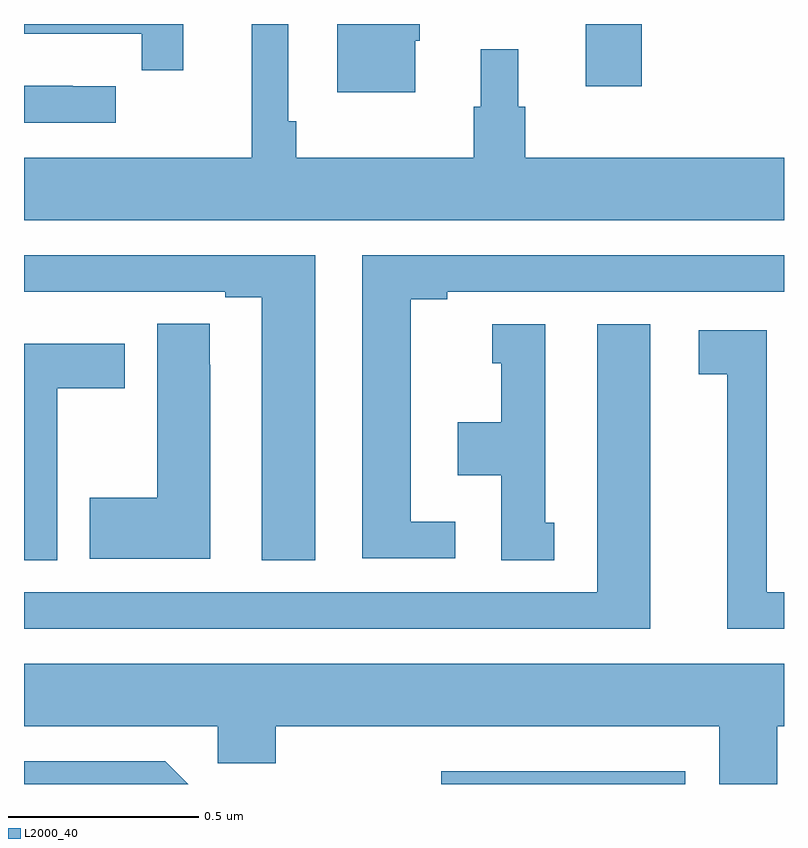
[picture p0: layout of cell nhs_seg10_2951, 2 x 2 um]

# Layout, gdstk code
import gdstk
lib = gdstk.Library(unit=1e-6, precision=1e-09)
def R(c, l, rs):  # rectangles x0, y0, x1, y1
    for r in rs: c.add(gdstk.rectangle(r[:2], r[2:], *l))
def P(c, l, *ps):  # polygons
    for p in ps: c.add(gdstk.Polygon(p, *l))
L2000_40 = (2000, 40)

nhs_seg10_2951 = lib.new_cell('nhs_seg10_2951')
R(nhs_seg10_2951, L2000_40, [(148.098,1297.5,148.74,1297.533), (148.478,1299.336,148.625,1299.5)])
P(nhs_seg10_2951, L2000_40, [(148.03,1299.456),(148.042,1299.456),(148.042,1299.5),(147.824,1299.5),(147.824,1299.32),(148.03,1299.32)],
  [(149,1299.148),(148.319,1299.148),(148.319,1299.282),(148.3,1299.282),(148.3,1299.433),(148.202,1299.433),(148.202,1299.282),(148.183,1299.282),(148.183,1299.148),(147.716,1299.148),(147.716,1299.244),(147.696,1299.244),(147.696,1299.5),(147.599,1299.5),(147.599,1299.148),(147,1299.148),(147,1298.984),(149,1298.984)],
  [(147.419,1299.5),(147,1299.5),(147,1299.474),(147.31,1299.474),(147.31,1299.378),(147.419,1299.378)],
  [(147.241,1299.336),(147.128,1299.336),(147.128,1299.337),(147,1299.337),(147,1299.24),(147.241,1299.24)],
  [(148.135,1298.19),(148.018,1298.19),(148.018,1298.776),(148.114,1298.776),(148.114,1298.796),(149,1298.796),(149,1298.892),(147.89,1298.892),(147.89,1298.094),(148.135,1298.094)],
  [(147.766,1298.892),(147,1298.892),(147,1298.796),(147.088,1298.796),(147.088,1298.795),(147.254,1298.795),(147.254,1298.796),(147.53,1298.796),(147.53,1298.781),(147.626,1298.781),(147.626,1298.089),(147.766,1298.089)],
  [(147.49,1298.603),(147.489,1298.603),(147.489,1298.711),(147.35,1298.711),(147.35,1298.253),(147.173,1298.253),(147.173,1298.093),(147.49,1298.093)],
  [(148.648,1298.71),(148.508,1298.71),(148.508,1298.004),(147,1298.004),(147,1297.908),(148.648,1297.908)],
  [(148.396,1298.187),(148.372,1298.187),(148.372,1298.71),(148.232,1298.71),(148.232,1298.607),(148.256,1298.607),(148.256,1298.452),(148.142,1298.452),(148.142,1298.312),(148.256,1298.312),(148.256,1298.089),(148.396,1298.089)],
  [(149,1298.004),(148.954,1298.004),(148.954,1298.694),(148.776,1298.694),(148.776,1298.578),(148.85,1298.578),(148.85,1297.908),(149,1297.908)],
  [(147.088,1298.542),(147.265,1298.542),(147.265,1298.658),(147,1298.658),(147,1298.089),(147.088,1298.089)],
  [(148.982,1297.652),(149,1297.652),(149,1297.816),(147,1297.816),(147,1297.652),(147.51,1297.652),(147.51,1297.554),(147.662,1297.554),(147.662,1297.652),(148.829,1297.652),(148.829,1297.5),(148.982,1297.5)],
  [(147.372,1297.56),(147,1297.56),(147,1297.5),(147.432,1297.5)])

lib.write_gds('nhs_seg10_2951.gds')
